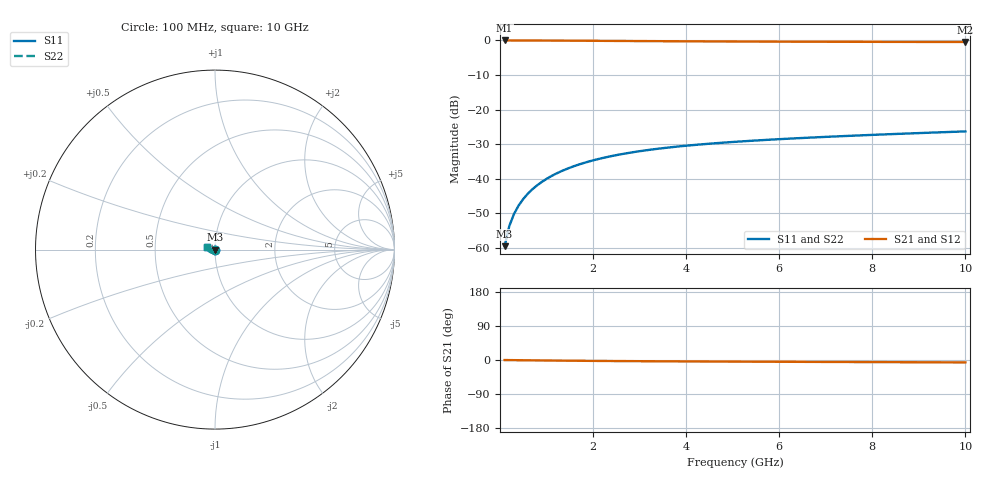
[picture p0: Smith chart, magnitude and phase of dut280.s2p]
! Touchstone file exported from HFSS 2024.1.0
!  File:  C:/UserFiles/LocalFiles/RDL_TSV_Batchsim/temp_TSV1_280_1779393163.aedt
!  Generated:  03:58:37 AM May 22, 2026
!  Design:  TSV1
!  Project:  temp_TSV1_280_1779393163
!  Setup:  Setup1
!  Solution:  Sweep
! Variables:
!  dtsv = 7.4um
!  hbump = 3um
!  htsv = 99.69um
!  lrdl = 252.1521522um
!  p = 40
!  p1 = 50.46um
!  t = 500um
!  trdl = 3um
!  wrdl = 24.89489489um
# GHz S MA R 50.000000
! Terminal data exported
! Port[1] = TSV22_T1
! Port[2] = TSV22_T2
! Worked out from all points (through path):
!   100 points, 100 MHz to 10 GHz, reference 50 ohm
!   highest |S21| = 0.00 dB at 100 MHz (marker M1); lowest = -0.4 dB at 10 GHz (marker M2)
!   lowest |S11| = -59.5 dB at 100 MHz (marker M3), VSWR 1.00, Z = 50 - j0.102 ohm
!   |S11| at or under -10 dB: start of sweep to end of sweep
!   |S22| runs from -59.5 to -26.3 dB; largest |S21 - S12| = 4.1e-15
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0.1  0.001053 -75.2  0.9997 -0.1  0.9997 -0.1  0.001053 -75.2
! Gamma 0 0 0 0
! Port Impedance 50 0 50 0
0.2  0.002054 -85.3  0.9995 -0.3  0.9995 -0.3  0.002054 -85.3
0.3  0.003063 -90.1  0.9993 -0.4  0.9993 -0.4  0.003063 -90.1
0.4  0.00407 -93.5  0.9991 -0.5  0.9991 -0.5  0.00407 -93.5
0.5  0.005071 -96.3  0.9988 -0.7  0.9988 -0.7  0.005071 -96.3
0.6  0.006063 -98.8  0.9984 -0.8  0.9984 -0.8  0.006063 -98.8
0.7  0.007045 -101.1  0.998 -0.9  0.998 -0.9  0.007045 -101.1
0.8  0.008015 -103.4  0.9975 -1.0  0.9975 -1.0  0.008015 -103.4
0.9  0.008973 -105.5  0.9969 -1.2  0.9969 -1.2  0.008973 -105.5
1.1  0.01084 -109.6  0.9957 -1.4  0.9957 -1.4  0.01084 -109.6
1.4  0.01352 -115.4  0.9935 -1.7  0.9935 -1.7  0.01352 -115.4
1.6  0.01522 -119.1  0.9919 -1.9  0.9919 -1.9  0.01522 -119.1
1.8  0.01684 -122.6  0.9902 -2.1  0.9902 -2.1  0.01684 -122.6
2.1  0.01911 -127.7  0.9876 -2.4  0.9876 -2.4  0.01911 -127.7
2.5  0.02188 -134.1  0.984 -2.8  0.984 -2.8  0.02188 -134.1
2.9  0.02436 -140.0  0.9805 -3.1  0.9805 -3.1  0.02436 -140.0
3.4  0.0271 -146.8  0.9764 -3.4  0.9764 -3.4  0.0271 -146.8
4.2  0.03081 -156.5  0.9706 -3.8  0.9706 -3.8  0.03081 -156.5
5.1  0.03427 -166.0  0.9653 -4.3  0.9653 -4.3  0.03427 -166.0
6.7  0.03935 -179.8  0.9584 -5.0  0.9584 -5.0  0.03935 -179.8
8.4  0.04404 168.3  0.9534 -5.7  0.9534 -5.7  0.04404 168.3
10  0.04824 159.2  0.9502 -6.4  0.9502 -6.4  0.04824 159.2
